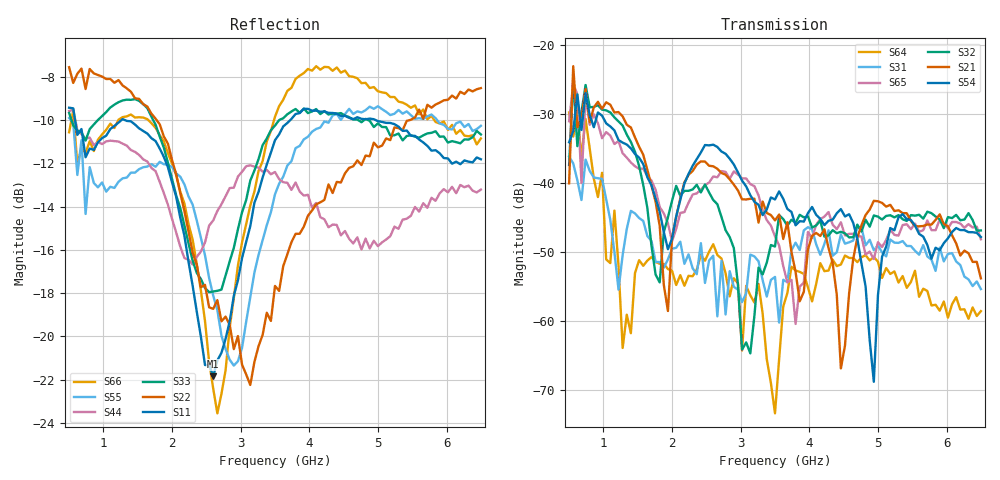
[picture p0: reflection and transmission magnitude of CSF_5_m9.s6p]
!Keysight Technologies,M9804A,MY58100912,A.14.10.03
!Date: Thursday, April 27, 2023 10:28:33
!Correction: S11(C  6-Port  )
!S12(C  6-Port  )
!S13(C  6-Port  )
!S14(C  6-Port  )
!S15(C  6-Port  )
!S16(C  6-Port  )
!S21(C  6-Port  )
!S22(C  6-Port  )
!S23(C  6-Port  )
!S24(C  6-Port  )
!S25(C  6-Port  )
!S26(C  6-Port  )
!S31(C  6-Port  )
!S32(C  6-Port  )
!S33(C  6-Port  )
!S34(C  6-Port  )
!S35(C  6-Port  )
!S36(C  6-Port  )
!S41(C  6-Port  )
!S42(C  6-Port  )
!S43(C  6-Port  )
!S44(C  6-Port  )
!S45(C  6-Port  )
!S46(C  6-Port  )
!S51(C  6-Port  )
!S52(C  6-Port  )
!S53(C  6-Port  )
!S54(C  6-Port  )
!S55(C  6-Port  )
!S56(C  6-Port  )
!S61(C  6-Port  )
!S62(C  6-Port  )
!S63(C  6-Port  )
!S64(C  6-Port  )
!S65(C  6-Port  )
!S66(C  6-Port  )
!S6P File: Measurement: :
# Hz S  RI  R 50
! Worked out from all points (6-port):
!   101 points, 500 MHz to 6.5 GHz, reference 50 ohm
!   strongest paths, dB at 500 MHz, 2 GHz, 3.5 GHz, 5 GHz, 6.5 GHz:
!     S54: -34.1, -48.1, -42.4, -56.3, -47.8
!     S21: -40.0, -47.9, -45.4, -42.6, -53.8
!     S32: -37.4, -42.6, -49.2, -44.9, -46.9
!     S65: -31.0, -48.4, -47.7, -48.6, -48.2
!     S31: -36.2, -49.5, -53.6, -49.0, -55.4
!     S64: -29.8, -52.7, -73.4, -51.4, -58.6
!   lowest |S11| = -21.8 dB at 2.6 GHz (marker M1), VSWR 1.18, Z = 42.7 + j1.95 ohm
!   |S11| at or under -10 dB: 586.4 MHz to 1.264 GHz (677.9 MHz wide, 73.3 % of centre); 1.31 GHz to 3.723 GHz (2.413 GHz wide, 95.9 % of centre); 4.965 GHz to end of sweep
